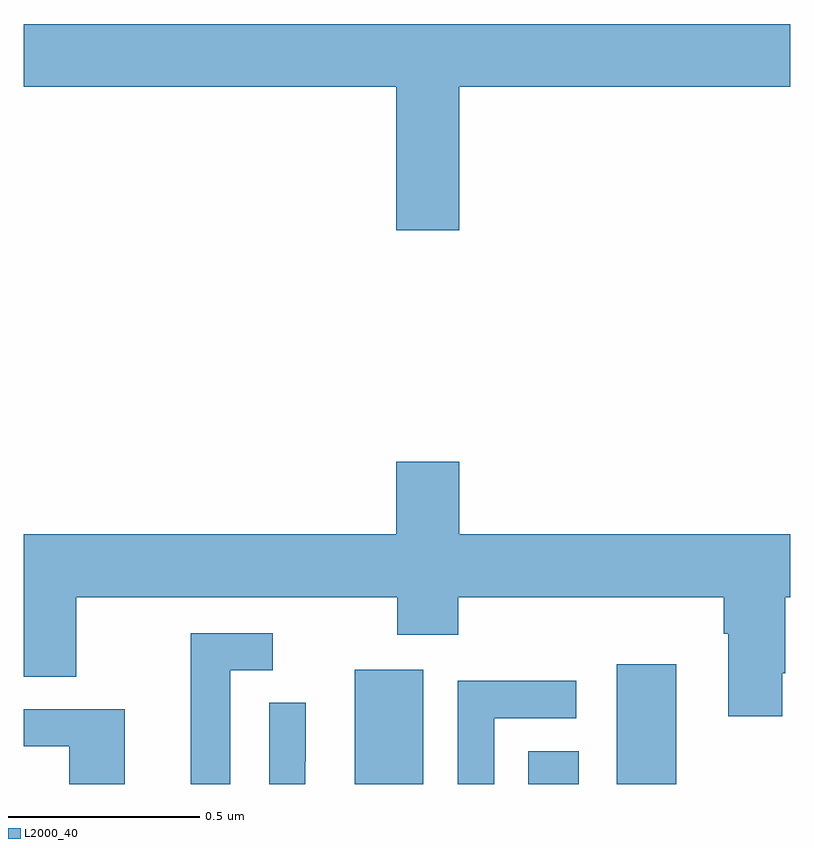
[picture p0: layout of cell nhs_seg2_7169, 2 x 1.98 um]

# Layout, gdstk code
import gdstk
lib = gdstk.Library(unit=1e-6, precision=1e-09)
def R(c, l, rs):  # rectangles x0, y0, x1, y1
    for r in rs: c.add(gdstk.rectangle(r[:2], r[2:], *l))
def P(c, l, *ps):  # polygons
    for p in ps: c.add(gdstk.Polygon(p, *l))
L2000_40 = (2000, 40)

nhs_seg2_7169 = lib.new_cell('nhs_seg2_7169')
R(nhs_seg2_7169, L2000_40, [(200.864,661.8,201.043,662.098), (201.317,661.8,201.448,661.886), (201.548,661.8,201.703,662.113)])
P(nhs_seg2_7169, L2000_40, [(201.136,663.62),(202,663.62),(202,663.784),(200,663.784),(200,663.62),(200.972,663.62),(200.972,663.246),(201.136,663.246)],
  [(201.979,662.089),(201.987,662.089),(201.987,662.288),(202,662.288),(202,662.452),(201.136,662.452),(201.136,662.641),(200.972,662.641),(200.972,662.452),(200,662.452),(200,662.08),(200.137,662.08),(200.137,662.288),(200.974,662.288),(200.974,662.189),(201.134,662.189),(201.134,662.288),(201.827,662.288),(201.827,662.192),(201.839,662.192),(201.839,661.977),(201.979,661.977)],
  [(200.539,662.097),(200.65,662.097),(200.65,662.193),(200.435,662.193),(200.435,661.8),(200.539,661.8)],
  [(201.228,661.971),(201.442,661.971),(201.442,662.07),(201.132,662.07),(201.132,661.8),(201.228,661.8)],
  [(200.735,661.858),(200.736,661.858),(200.736,662.012),(200.64,662.012),(200.64,661.8),(200.735,661.8)],
  [(200.263,661.995),(200,661.995),(200,661.899),(200.118,661.899),(200.118,661.8),(200.263,661.8)])

lib.write_gds('nhs_seg2_7169.gds')
